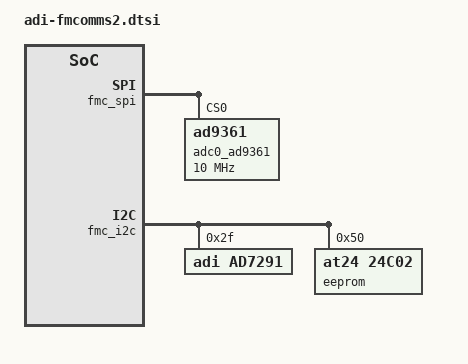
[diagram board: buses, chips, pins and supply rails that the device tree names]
/ {
	clocks {
		ad9361_clkin: clock@0 {
			#clock-cells = <0>;
			compatible = "fixed-clock";
			clock-frequency = <40000000>;
			clock-output-names = "ad9361_ext_refclk";
		};
	};
};

&fmc_spi {
	adc0_ad9361: ad9361-phy@0 {
		#address-cells = <1>;
		#size-cells = <0>;
		#clock-cells = <1>;
		compatible = "ad9361";

		/* SPI Setup */
		reg = <0>;
		spi-cpha;
		spi-max-frequency = <10000000>;

		/* Clocks */
		clocks = <&ad9361_clkin 0>;
		clock-names = "ad9361_ext_refclk";
		clock-output-names = "rx_sampl_clk", "tx_sampl_clk";


		//adi,debug-mode-enable;
		/* Digital Interface Control */

		adi,pp-tx-swap-enable;
		adi,pp-rx-swap-enable;
		adi,rx-frame-pulse-mode-enable;
		adi,lvds-mode-enable;
		adi,lvds-bias-mV = <150>;
		adi,lvds-rx-onchip-termination-enable;
		adi,rx-data-delay = <4>;
		adi,tx-fb-clock-delay = <7>;

		//adi,fdd-rx-rate-2tx-enable;

		adi,dcxo-coarse-and-fine-tune = <8 5920>;
		//adi,xo-disable-use-ext-refclk-enable;

		/* Mode Setup */

		adi,2rx-2tx-mode-enable;
		//adi,split-gain-table-mode-enable;

		/* ENSM Mode */
		adi,frequency-division-duplex-mode-enable;
		//adi,ensm-pin-pulse-mode-enable;
		//adi,ensm-enable-txnrx-control-enable;


		/* adi,rx-rf-port-input-select:
		 * 0 = (RX1A_N &  RX1A_P) and (RX2A_N & RX2A_P) enabled; balanced
		 * 1 = (RX1B_N &  RX1B_P) and (RX2B_N & RX2B_P) enabled; balanced
		 * 2 = (RX1C_N &  RX1C_P) and (RX2C_N & RX2C_P) enabled; balanced
		 *
		 * 3 = RX1A_N and RX2A_N enabled; unbalanced
		 * 4 = RX1A_P and RX2A_P enabled; unbalanced
		 * 5 = RX1B_N and RX2B_N enabled; unbalanced
		 * 6 = RX1B_P and RX2B_P enabled; unbalanced
		 * 7 = RX1C_N and RX2C_N enabled; unbalanced
		 * 8 = RX1C_P and RX2C_P enabled; unbalanced
		 */

		adi,rx-rf-port-input-select = <0>; /* (RX1A_N &  RX1A_P) and (RX2A_N & RX2A_P) enabled; balanced */

		/* adi,tx-rf-port-input-select:
		 * 0	TX1A, TX2A
		 * 1	TX1B, TX2B
		 */

		adi,tx-rf-port-input-select = <0>; /* TX1A, TX2A */
		//adi,update-tx-gain-in-alert-enable;
		adi,tx-attenuation-mdB = <10000>;
		adi,tx-lo-powerdown-managed-enable;

		adi,rf-rx-bandwidth-hz = <18000000>;
		adi,rf-tx-bandwidth-hz = <18000000>;
		adi,rx-synthesizer-frequency-hz = /bits/ 64 <2400000000>;
		adi,tx-synthesizer-frequency-hz = /bits/ 64 <2450000000>;

		/*				BBPLL     ADC        R2CLK     R1CLK    CLKRF    RSAMPL  */
		adi,rx-path-clock-frequencies = <983040000 245760000 122880000 61440000 30720000 30720000>;
		/*				BBPLL     DAC        T2CLK     T1CLK    CLKTF    TSAMPL  */
		adi,tx-path-clock-frequencies = <983040000 122880000 122880000 61440000 30720000 30720000>;

		/* Gain Control */

		/* adi,gc-rx[1|2]-mode:
		 * 0 = RF_GAIN_MGC
		 * 1 = RF_GAIN_FASTATTACK_AGC
		 * 2 = RF_GAIN_SLOWATTACK_AGC
		 * 3 = RF_GAIN_HYBRID_AGC
		 */

		adi,gc-rx1-mode = <2>;
		adi,gc-rx2-mode = <2>;
		adi,gc-adc-ovr-sample-size = <4>; /* sum 4 samples */
		adi,gc-adc-small-overload-thresh = <47>; /* sum of squares */
		adi,gc-adc-large-overload-thresh = <58>; /* sum of squares */
		adi,gc-lmt-overload-high-thresh = <800>; /* mV */
		adi,gc-lmt-overload-low-thresh = <704>; /* mV */
		adi,gc-dec-pow-measurement-duration = <8192>; /* 0..524288 Samples */
		adi,gc-low-power-thresh = <24>; /* 0..-64 dBFS vals are set pos */
		//adi,gc-dig-gain-enable;
		//adi,gc-max-dig-gain = <15>;

		/* Manual Gain Control Setup */

		//adi,mgc-rx1-ctrl-inp-enable; /* uncomment to use ctrl inputs */
		//adi,mgc-rx2-ctrl-inp-enable; /* uncomment to use ctrl inputs */
		adi,mgc-inc-gain-step = <2>;
		adi,mgc-dec-gain-step = <2>;

		/* adi,mgc-split-table-ctrl-inp-gain-mode:
		 * (relevant if adi,split-gain-table-mode-enable is set)
		 * 0 = AGC determine this
		 * 1 = only in LPF
		 * 2 = only in LMT
		 */

		adi,mgc-split-table-ctrl-inp-gain-mode = <0>;

		/* Automatic Gain Control Setup */

		adi,agc-attack-delay-extra-margin-us= <1>; /* us */
		adi,agc-outer-thresh-high = <5>; /* -dBFS */
		adi,agc-outer-thresh-high-dec-steps = <2>; /* 0..15 */
		adi,agc-inner-thresh-high = <10>; /* -dBFS */
		adi,agc-inner-thresh-high-dec-steps = <1>; /* 0..7 */
		adi,agc-inner-thresh-low = <12>; /* -dBFS */
		adi,agc-inner-thresh-low-inc-steps = <1>; /* 0..7 */
		adi,agc-outer-thresh-low = <18>; /* -dBFS */
		adi,agc-outer-thresh-low-inc-steps = <2>; /* 0..15 */

		adi,agc-adc-small-overload-exceed-counter = <10>; /* 0..15 */
		adi,agc-adc-large-overload-exceed-counter = <10>; /* 0..15 */
		adi,agc-adc-large-overload-inc-steps = <2>; /* 0..15 */
		//adi,agc-adc-lmt-small-overload-prevent-gain-inc-enable;
		adi,agc-lmt-overload-large-exceed-counter = <10>; /* 0..15 */
		adi,agc-lmt-overload-small-exceed-counter = <10>; /* 0..15 */
		adi,agc-lmt-overload-large-inc-steps = <2>; /* 0..7 */
		//adi,agc-dig-saturation-exceed-counter = <3>; /* 0..15 */
		//adi,agc-dig-gain-step-size = <4>; /* 1..8 */

		//adi,agc-sync-for-gain-counter-enable;
		adi,agc-gain-update-interval-us = <1000>;  /* 1ms */
		//adi,agc-immed-gain-change-if-large-adc-overload-enable;
		//adi,agc-immed-gain-change-if-large-lmt-overload-enable;

		/* Fast AGC */

		adi,fagc-dec-pow-measurement-duration = <64>; /* 64 Samples */
		//adi,fagc-allow-agc-gain-increase-enable;
		adi,fagc-lp-thresh-increment-steps = <1>;
		adi,fagc-lp-thresh-increment-time = <5>;

		adi,fagc-energy-lost-stronger-sig-gain-lock-exit-cnt = <8>;
		adi,fagc-final-overrange-count = <3>;
		//adi,fagc-gain-increase-after-gain-lock-enable;
		adi,fagc-gain-index-type-after-exit-rx-mode = <0>;
		adi,fagc-lmt-final-settling-steps = <1>;
		adi,fagc-lock-level = <10>;
		adi,fagc-lock-level-gain-increase-upper-limit = <5>;
		adi,fagc-lock-level-lmt-gain-increase-enable;

		adi,fagc-lpf-final-settling-steps = <1>;
		adi,fagc-optimized-gain-offset = <5>;
		adi,fagc-power-measurement-duration-in-state5 = <64>;
		adi,fagc-rst-gla-engergy-lost-goto-optim-gain-enable;
		adi,fagc-rst-gla-engergy-lost-sig-thresh-below-ll = <10>;
		adi,fagc-rst-gla-engergy-lost-sig-thresh-exceeded-enable;
		adi,fagc-rst-gla-if-en-agc-pulled-high-mode = <0>;
		adi,fagc-rst-gla-large-adc-overload-enable;
		adi,fagc-rst-gla-large-lmt-overload-enable;
		adi,fagc-rst-gla-stronger-sig-thresh-above-ll = <10>;
		adi,fagc-rst-gla-stronger-sig-thresh-exceeded-enable;
		adi,fagc-state-wait-time-ns = <260>;
		adi,fagc-use-last-lock-level-for-set-gain-enable;

		/* RSSI */

		/* adi,rssi-restart-mode:
		 * 0 = AGC_IN_FAST_ATTACK_MODE_LOCKS_THE_GAIN,
		 * 1 = EN_AGC_PIN_IS_PULLED_HIGH,
		 * 2 = ENTERS_RX_MODE,
		 * 3 = GAIN_CHANGE_OCCURS,
		 * 4 = SPI_WRITE_TO_REGISTER,
		 * 5 = GAIN_CHANGE_OCCURS_OR_EN_AGC_PIN_PULLED_HIGH,
		 */
		adi,rssi-restart-mode = <3>;
		//adi,rssi-unit-is-rx-samples-enable;
		adi,rssi-delay = <1>; /* 1us */
		adi,rssi-wait = <1>; /* 1us */
		adi,rssi-duration = <1000>; /* 1ms */

		/* Control Outputs */
		adi,ctrl-outs-index = <0>;
		adi,ctrl-outs-enable-mask = <0xFF>;

		/* AuxADC Temp Sense Control */

		adi,temp-sense-measurement-interval-ms = <1000>;
		adi,temp-sense-offset-signed = <0xCE>;
		adi,temp-sense-periodic-measurement-enable;

		/* AuxDAC Control */

		adi,aux-dac-manual-mode-enable;

		adi,aux-dac1-default-value-mV = <0>;
		//adi,aux-dac1-active-in-rx-enable;
		//adi,aux-dac1-active-in-tx-enable;
		//adi,aux-dac1-active-in-alert-enable;
		adi,aux-dac1-rx-delay-us = <0>;
		adi,aux-dac1-tx-delay-us = <0>;

		adi,aux-dac2-default-value-mV = <0>;
		//adi,aux-dac2-active-in-rx-enable;
		//adi,aux-dac2-active-in-tx-enable;
		//adi,aux-dac2-active-in-alert-enable;
		adi,aux-dac2-rx-delay-us = <0>;
		adi,aux-dac2-tx-delay-us = <0>;
	};
};

&fmc_i2c {
	ad7291@2f {
		compatible = "adi,ad7291";
		reg = <0x2f>;
	};

	eeprom@50 {
		compatible = "at24,24c02";
		reg = <0x50>;
	};
};
